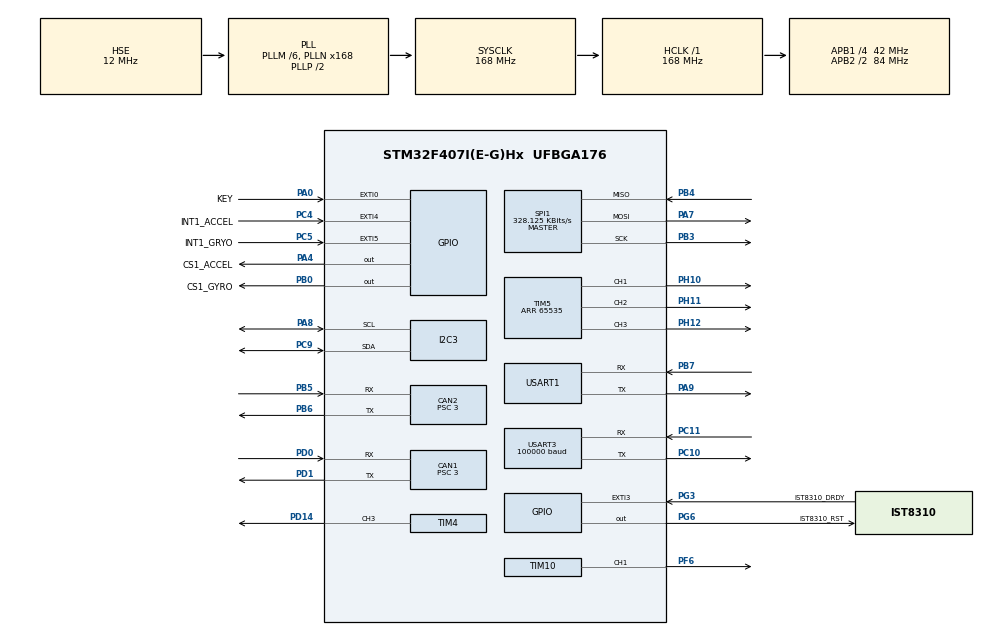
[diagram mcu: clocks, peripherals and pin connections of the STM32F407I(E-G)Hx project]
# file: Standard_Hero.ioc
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CAN1.BS1=CAN_BS1_10TQ
CAN1.BS2=CAN_BS2_3TQ
CAN1.CalculateBaudRate=1000000
CAN1.CalculateTimeBit=1000
CAN1.CalculateTimeQuantum=71.42857142857143
CAN1.Prescaler=3
CAN2.BS1=CAN_BS1_10TQ
CAN2.BS2=CAN_BS2_3TQ
CAN2.CalculateBaudRate=1000000
CAN2.CalculateTimeBit=1000
CAN2.CalculateTimeQuantum=71.42857142857143
CAN2.Prescaler=3
Dma.Request0=USART3_RX
Dma.Request1=SPI1_RX
Dma.Request2=SPI1_TX
Dma.Request3=USART1_RX
Dma.Request4=USART1_TX
Dma.SPI1_RX.1.Direction=DMA_PERIPH_TO_MEMORY
Dma.SPI1_RX.1.FIFOMode=DMA_FIFOMODE_DISABLE
Dma.SPI1_RX.1.Instance=DMA2_Stream2
Dma.SPI1_RX.1.MemDataAlignment=DMA_MDATAALIGN_BYTE
Dma.SPI1_RX.1.MemInc=DMA_MINC_ENABLE
Dma.SPI1_RX.1.Mode=DMA_NORMAL
Dma.SPI1_RX.1.PeriphDataAlignment=DMA_PDATAALIGN_BYTE
Dma.SPI1_RX.1.PeriphInc=DMA_PINC_DISABLE
Dma.SPI1_RX.1.Priority=DMA_PRIORITY_VERY_HIGH
Dma.SPI1_TX.2.Direction=DMA_MEMORY_TO_PERIPH
Dma.SPI1_TX.2.FIFOMode=DMA_FIFOMODE_DISABLE
Dma.SPI1_TX.2.Instance=DMA2_Stream3
Dma.SPI1_TX.2.MemDataAlignment=DMA_MDATAALIGN_BYTE
Dma.SPI1_TX.2.MemInc=DMA_MINC_ENABLE
Dma.SPI1_TX.2.Mode=DMA_NORMAL
Dma.SPI1_TX.2.PeriphDataAlignment=DMA_PDATAALIGN_BYTE
Dma.SPI1_TX.2.PeriphInc=DMA_PINC_DISABLE
Dma.SPI1_TX.2.Priority=DMA_PRIORITY_HIGH
Dma.USART1_RX.3.Direction=DMA_PERIPH_TO_MEMORY
Dma.USART1_RX.3.FIFOMode=DMA_FIFOMODE_DISABLE
Dma.USART1_RX.3.Instance=DMA2_Stream5
Dma.USART1_RX.3.MemDataAlignment=DMA_MDATAALIGN_BYTE
Dma.USART1_RX.3.MemInc=DMA_MINC_ENABLE
Dma.USART1_RX.3.Mode=DMA_NORMAL
Dma.USART1_RX.3.PeriphDataAlignment=DMA_PDATAALIGN_BYTE
Dma.USART1_RX.3.PeriphInc=DMA_PINC_DISABLE
Dma.USART1_RX.3.Priority=DMA_PRIORITY_VERY_HIGH
Dma.USART1_TX.4.Direction=DMA_MEMORY_TO_PERIPH
Dma.USART1_TX.4.FIFOMode=DMA_FIFOMODE_DISABLE
Dma.USART1_TX.4.Instance=DMA2_Stream7
Dma.USART1_TX.4.MemDataAlignment=DMA_MDATAALIGN_BYTE
Dma.USART1_TX.4.MemInc=DMA_MINC_ENABLE
Dma.USART1_TX.4.Mode=DMA_NORMAL
Dma.USART1_TX.4.PeriphDataAlignment=DMA_PDATAALIGN_BYTE
Dma.USART1_TX.4.PeriphInc=DMA_PINC_DISABLE
Dma.USART1_TX.4.Priority=DMA_PRIORITY_MEDIUM
Dma.USART3_RX.0.Direction=DMA_PERIPH_TO_MEMORY
Dma.USART3_RX.0.FIFOMode=DMA_FIFOMODE_DISABLE
Dma.USART3_RX.0.Instance=DMA1_Stream1
Dma.USART3_RX.0.MemDataAlignment=DMA_MDATAALIGN_BYTE
Dma.USART3_RX.0.MemInc=DMA_MINC_ENABLE
Dma.USART3_RX.0.Mode=DMA_NORMAL
Dma.USART3_RX.0.PeriphDataAlignment=DMA_PDATAALIGN_BYTE
Dma.USART3_RX.0.PeriphInc=DMA_PINC_DISABLE
Dma.USART3_RX.0.Priority=DMA_PRIORITY_VERY_HIGH
FREERTOS.INCLUDE_uxTaskGetStackHighWaterMark=1
FREERTOS.INCLUDE_xTaskGetHandle=1
FREERTOS.Tasks01=defaultTask,0,128,StartDefaultTask,Default,NULL,Dynamic,NULL,NULL
I2C3.I2C_Mode=I2C_Fast
Mcu.Family=STM32F4
Mcu.Name=STM32F407I(E-G)Hx
Mcu.Package=UFBGA176
NVIC.CAN1_RX0_IRQn=true\:5\:0\:false\:false\:true\:true\:true\:true\:true
NVIC.CAN2_RX0_IRQn=true\:5\:0\:false\:false\:true\:true\:true\:true\:true
NVIC.DMA1_Stream1_IRQn=true\:5\:0\:false\:false\:true\:true\:false\:true\:true
NVIC.DMA2_Stream2_IRQn=true\:5\:0\:false\:false\:true\:true\:false\:true\:true
NVIC.DMA2_Stream3_IRQn=true\:5\:0\:false\:false\:true\:true\:false\:true\:true
NVIC.DMA2_Stream5_IRQn=true\:5\:0\:false\:false\:true\:true\:false\:true\:true
NVIC.DMA2_Stream7_IRQn=true\:5\:0\:false\:false\:true\:true\:false\:true\:true
NVIC.EXTI0_IRQn=true\:5\:0\:false\:false\:true\:true\:true\:true\:true
NVIC.EXTI3_IRQn=true\:5\:0\:false\:false\:true\:true\:true\:true\:true
NVIC.EXTI4_IRQn=true\:5\:0\:false\:false\:true\:true\:true\:true\:true
NVIC.EXTI9_5_IRQn=true\:5\:0\:false\:false\:true\:true\:true\:true\:true
NVIC.PriorityGroup=NVIC_PRIORITYGROUP_4
NVIC.USART1_IRQn=true\:5\:0\:false\:false\:true\:true\:true\:true\:true
NVIC.USART3_IRQn=true\:5\:0\:false\:false\:true\:true\:true\:true\:true
PA0-WKUP.GPIO_Label=KEY
PA0-WKUP.GPIO_ModeDefaultEXTI=GPIO_MODE_IT_RISING_FALLING
PA0-WKUP.GPIO_PuPd=GPIO_PULLUP
PA0-WKUP.Signal=GPXTI0
PA13.Mode=Serial_Wire
PA13.Signal=SYS_JTMS-SWDIO
PA14.Mode=Serial_Wire
PA14.Signal=SYS_JTCK-SWCLK
PA4.GPIO_Label=CS1_ACCEL
PA4.GPIO_PuPd=GPIO_PULLUP
PA4.GPIO_Speed=GPIO_SPEED_FREQ_HIGH
PA4.PinState=GPIO_PIN_SET
PA4.Signal=GPIO_Output
PA7.Mode=Full_Duplex_Master
PA7.Signal=SPI1_MOSI
PA8.Mode=I2C
PA8.Signal=I2C3_SCL
PA9.Mode=Asynchronous
PA9.Signal=USART1_TX
PB0.GPIO_Label=CS1_GYRO
PB0.GPIO_PuPd=GPIO_PULLUP
PB0.GPIO_Speed=GPIO_SPEED_FREQ_HIGH
PB0.PinState=GPIO_PIN_SET
PB0.Signal=GPIO_Output
PB3.Mode=Full_Duplex_Master
PB3.Signal=SPI1_SCK
PB4.Mode=Full_Duplex_Master
PB4.Signal=SPI1_MISO
PB5.Mode=CAN_Activate
PB5.Signal=CAN2_RX
PB6.Mode=CAN_Activate
PB6.Signal=CAN2_TX
PB7.Mode=Asynchronous
PB7.Signal=USART1_RX
PC10.Mode=Asynchronous
PC10.Signal=USART3_TX
PC11.Mode=Asynchronous
PC11.Signal=USART3_RX
PC4.GPIO_Label=INT1_ACCEL
PC4.GPIO_ModeDefaultEXTI=GPIO_MODE_IT_FALLING
PC4.GPIO_PuPd=GPIO_PULLUP
PC4.Signal=GPXTI4
PC5.GPIO_Label=INT1_GRYO
PC5.GPIO_ModeDefaultEXTI=GPIO_MODE_IT_FALLING
PC5.GPIO_PuPd=GPIO_PULLUP
PC5.Signal=GPXTI5
PC9.Mode=I2C
PC9.Signal=I2C3_SDA
PD0.Mode=CAN_Activate
PD0.Signal=CAN1_RX
PD1.Mode=CAN_Activate
PD1.Signal=CAN1_TX
PD14.Signal=S_TIM4_CH3
PF6.GPIO_PuPd=GPIO_PULLUP
PF6.GPIO_Speed=GPIO_SPEED_FREQ_HIGH
PF6.Signal=S_TIM10_CH1
PG3.GPIO_Label=IST8310_DRDY
PG3.GPIO_ModeDefaultEXTI=GPIO_MODE_IT_FALLING
PG3.GPIO_PuPd=GPIO_PULLUP
PG3.Signal=GPXTI3
PG6.GPIO_Label=IST8310_RST
PG6.GPIO_PuPd=GPIO_PULLUP
PG6.GPIO_Speed=GPIO_SPEED_FREQ_MEDIUM
PG6.Signal=GPIO_Output
PH0-OSC_IN.Mode=HSE-External-Oscillator
PH0-OSC_IN.Signal=RCC_OSC_IN
PH1-OSC_OUT.Mode=HSE-External-Oscillator
PH1-OSC_OUT.Signal=RCC_OSC_OUT
PH10.Signal=S_TIM5_CH1
PH11.Signal=S_TIM5_CH2
PH12.Signal=S_TIM5_CH3
ProjectManager.HeapSize=0x200
ProjectManager.StackSize=0x400
ProjectManager.TargetToolchain=MDK-ARM V5
RCC.48MHZClocksFreq_Value=84000000
RCC.AHBFreq_Value=168000000
RCC.APB1CLKDivider=RCC_HCLK_DIV4
RCC.APB1Freq_Value=42000000
RCC.APB1TimFreq_Value=84000000
RCC.APB2CLKDivider=RCC_HCLK_DIV2
RCC.APB2Freq_Value=84000000
RCC.APB2TimFreq_Value=168000000
RCC.CortexFreq_Value=168000000
RCC.HCLKFreq_Value=168000000
RCC.HSE_VALUE=12000000
RCC.HSI_VALUE=16000000
RCC.LSE_VALUE=32768
RCC.PLLM=6
RCC.PLLN=168
RCC.PLLSourceVirtual=RCC_PLLSOURCE_HSE
RCC.SYSCLKFreq_VALUE=168000000
RCC.SYSCLKSource=RCC_SYSCLKSOURCE_PLLCLK
RCC.VCOOutputFreq_Value=336000000
SH.S_TIM10_CH1.0=TIM10_CH1,PWM Generation1 CH1
SH.S_TIM4_CH3.0=TIM4_CH3,PWM Generation3 CH3
SH.S_TIM5_CH1.0=TIM5_CH1,PWM Generation1 CH1
SH.S_TIM5_CH2.0=TIM5_CH2,PWM Generation2 CH2
SH.S_TIM5_CH3.0=TIM5_CH3,PWM Generation3 CH3
SPI1.BaudRatePrescaler=SPI_BAUDRATEPRESCALER_256
SPI1.CLKPhase=SPI_PHASE_2EDGE
SPI1.CLKPolarity=SPI_POLARITY_HIGH
SPI1.CalculateBaudRate=328.125 KBits/s
SPI1.Direction=SPI_DIRECTION_2LINES
SPI1.Mode=SPI_MODE_MASTER
SPI1.VirtualType=VM_MASTER
TIM10.Channel=TIM_CHANNEL_1
TIM10.Period=4999
TIM4.Channel-PWM\ Generation3\ CH3=TIM_CHANNEL_3
TIM4.Period=20999
TIM5.Channel-PWM\ Generation1\ CH1=TIM_CHANNEL_1
TIM5.Channel-PWM\ Generation2\ CH2=TIM_CHANNEL_2
TIM5.Channel-PWM\ Generation3\ CH3=TIM_CHANNEL_3
TIM5.Period=65535
USART1.VirtualMode=VM_ASYNC
USART3.BaudRate=100000
USART3.VirtualMode=VM_ASYNC
VP_FREERTOS_VS_CMSIS_V1.Mode=CMSIS_V1
VP_TIM10_VS_ClockSourceINT.Mode=Enable_Timer
VP_TIM4_VS_ClockSourceINT.Mode=Internal
board=custom

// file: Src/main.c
/* USER CODE BEGIN Header */
/**
  ******************************************************************************
  * @file           : main.c
  * @brief          : Main program body
  ******************************************************************************
  * @attention
  *
  * <h2><center>&copy; Copyright (c) 2019 STMicroelectronics.
  * All rights reserved.</center></h2>
  *
  * This software component is licensed by ST under BSD 3-Clause license,
  * the "License"; You may not use this file except in compliance with the
  * License. You may obtain a copy of the License at:
  *                        opensource.org/licenses/BSD-3-Clause
  *
  ******************************************************************************
  */
/* USER CODE END Header */
#include "main.h"
#include "cmsis_os.h"
#include "can.h"
#include "dma.h"
#include "i2c.h"
#include "spi.h"
#include "tim.h"
#include "usart.h"
#include "gpio.h"

/* USER CODE BEGIN Includes */

#include "bsp_can.h"
#include "remote_control.h"
#include "bsp_rc.h"
#include "calibrate_task.h"
#include "bsp_imu_pwm.h"
#include "message_usart.h"
/* USER CODE END Includes */

/* USER CODE BEGIN PTD */
extern UART_HandleTypeDef huart1;
/* USER CODE END PTD */

void SystemClock_Config(void);
void MX_FREERTOS_Init(void);

int main(void)
{

  /* MCU Configuration--------------------------------------------------------*/

  /* Reset of all peripherals, Initializes the Flash interface and the Systick. */
  HAL_Init();

  /* Configure the system clock */
  SystemClock_Config();

  /* Initialize all configured peripherals */
  MX_GPIO_Init();
  MX_DMA_Init();
  MX_CAN1_Init();
  MX_USART1_UART_Init();
  MX_USART3_UART_Init();
  MX_CAN2_Init();
  MX_I2C3_Init();
  MX_TIM5_Init();
  MX_SPI1_Init();
  MX_TIM10_Init();
  MX_TIM4_Init();
  /* USER CODE BEGIN 2 */
	//开启TIM5时钟
	HAL_TIM_Base_Start(&htim4);
	HAL_TIM_Base_Start(&htim5);
	//初始化rc遥控器
	remote_control_init();
	//使能can过滤器
	can_filter_init();
	//开启PWM
	HAL_TIM_PWM_Start(&htim4, TIM_CHANNEL_3);
	HAL_TIM_PWM_Start(&htim5, TIM_CHANNEL_1);
	HAL_TIM_PWM_Start(&htim5, TIM_CHANNEL_2);
	HAL_TIM_PWM_Start(&htim5, TIM_CHANNEL_3);
	/*开启串口空闲中断*/
//	__HAL_UART_ENABLE_IT(&huart1, UART_IT_IDLE);
//	__HAL_UART_ENABLE_IT(&huart1, UART_IT_RXNE); // 使能接收中断
//	__HAL_UART_ENABLE_IT(&huart1, UART_IT_IDLE); // 使能空闲中断
//	/*启动串口DMA接收*/
//	HAL_UART_Receive_DMA(&huart1,rx_buffer,BUFFER_SIZE);
	//开启校准模式
	cali_param_init();
  /* USER CODE END 2 */

  /* Call init function for freertos objects (in freertos.c) */
  MX_FREERTOS_Init();

  /* Start scheduler */
  osKernelStart();
  /* We should never get here as control is now taken by the scheduler */
  /* Infinite loop */
  while (1)
  {

  }
}

void SystemClock_Config(void)
{
  RCC_OscInitTypeDef RCC_OscInitStruct = {0};
  RCC_ClkInitTypeDef RCC_ClkInitStruct = {0};

  /** Configure the main internal regulator output voltage
  */
  __HAL_RCC_PWR_CLK_ENABLE();
  __HAL_PWR_VOLTAGESCALING_CONFIG(PWR_REGULATOR_VOLTAGE_SCALE1);

  /** Initializes the RCC Oscillators according to the specified parameters
  * in the RCC_OscInitTypeDef structure.
  */
  RCC_OscInitStruct.OscillatorType = RCC_OSCILLATORTYPE_HSE;
  RCC_OscInitStruct.HSEState = RCC_HSE_ON;
  RCC_OscInitStruct.PLL.PLLState = RCC_PLL_ON;
  RCC_OscInitStruct.PLL.PLLSource = RCC_PLLSOURCE_HSE;
  RCC_OscInitStruct.PLL.PLLM = 6;
  RCC_OscInitStruct.PLL.PLLN = 168;
  RCC_OscInitStruct.PLL.PLLP = RCC_PLLP_DIV2;
  RCC_OscInitStruct.PLL.PLLQ = 4;
  if (HAL_RCC_OscConfig(&RCC_OscInitStruct) != HAL_OK)
  {
    Error_Handler();
  }

  /** Initializes the CPU, AHB and APB buses clocks
  */
  RCC_ClkInitStruct.ClockType = RCC_CLOCKTYPE_HCLK|RCC_CLOCKTYPE_SYSCLK
                              |RCC_CLOCKTYPE_PCLK1|RCC_CLOCKTYPE_PCLK2;
  RCC_ClkInitStruct.SYSCLKSource = RCC_SYSCLKSOURCE_PLLCLK;
  RCC_ClkInitStruct.AHBCLKDivider = RCC_SYSCLK_DIV1;
  RCC_ClkInitStruct.APB1CLKDivider = RCC_HCLK_DIV4;
  RCC_ClkInitStruct.APB2CLKDivider = RCC_HCLK_DIV2;

  if (HAL_RCC_ClockConfig(&RCC_ClkInitStruct, FLASH_LATENCY_5) != HAL_OK)
  {
    Error_Handler();
  }
}

void Error_Handler(void)
{
}

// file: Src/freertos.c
/* USER CODE BEGIN Header */
/**
  ******************************************************************************
  * File Name          : freertos.c
  * Description        : Code for freertos applications
  ******************************************************************************
  * @attention
  *
  * <h2><center>&copy; Copyright (c) 2022 STMicroelectronics.
  * All rights reserved.</center></h2>
  *
  * This software component is licensed by ST under Ultimate Liberty license
  * SLA0044, the "License"; You may not use this file except in compliance with
  * the License. You may obtain a copy of the License at:
  *                             www.st.com/SLA0044
  *
  ******************************************************************************
  */
/* USER CODE END Header */

#include "FreeRTOS.h"
#include "task.h"
#include "main.h"
#include "cmsis_os.h"

/* USER CODE BEGIN Includes */
#include "gimbal_task.h"
#include "INS_task.h"
#include "calibrate_task.h"
#include "chassis_task.h"
#include "detect_task.h"
#include "message_usart.h"

/* USER CODE END Includes */

/* USER CODE BEGIN PTD */

osThreadId gimbalTaskHandle;
osThreadId imuTaskHandle;
osThreadId chassisTaskHandle;
osThreadId detect_handle;
osThreadId calibrate_tast_handle;
osThreadId message_handle;

/* USER CODE END PTD */

osThreadId defaultTaskHandle;

void StartDefaultTask(void const * argument);

void MX_FREERTOS_Init(void); /* (MISRA C 2004 rule 8.1) */

/* GetIdleTaskMemory prototype (linked to static allocation support) */
void vApplicationGetIdleTaskMemory( StaticTask_t **ppxIdleTaskTCBBuffer, StackType_t **ppxIdleTaskStackBuffer, uint32_t *pulIdleTaskStackSize );

/* USER CODE BEGIN GET_IDLE_TASK_MEMORY */
static StaticTask_t xIdleTaskTCBBuffer;
static StackType_t xIdleStack[configMINIMAL_STACK_SIZE];

void vApplicationGetIdleTaskMemory( StaticTask_t **ppxIdleTaskTCBBuffer, StackType_t **ppxIdleTaskStackBuffer, uint32_t *pulIdleTaskStackSize )
{
  *ppxIdleTaskTCBBuffer = &xIdleTaskTCBBuffer;
  *ppxIdleTaskStackBuffer = &xIdleStack[0];
  *pulIdleTaskStackSize = configMINIMAL_STACK_SIZE;
  /* place for user code */
}
/* USER CODE END GET_IDLE_TASK_MEMORY */

void MX_FREERTOS_Init(void) {

  /* Create the thread(s) */
  /* definition and creation of defaultTask */
  osThreadDef(defaultTask, StartDefaultTask, osPriorityNormal, 0, 128);
  defaultTaskHandle = osThreadCreate(osThread(defaultTask), NULL);

  /* USER CODE BEGIN RTOS_THREADS */
  /* add threads, ... */
	osThreadDef(gimbalTask, gimbal_task, osPriorityHigh, 0, 512);
  gimbalTaskHandle = osThreadCreate(osThread(gimbalTask), NULL);

  osThreadDef(cali, calibrate_task, osPriorityNormal, 0, 512);
  calibrate_tast_handle = osThreadCreate(osThread(cali), NULL);

  osThreadDef(imuTask, INS_task, osPriorityRealtime, 0, 1024);
  imuTaskHandle = osThreadCreate(osThread(imuTask), NULL);

	osThreadDef(ChassisTask, chassis_task, osPriorityAboveNormal, 0, 512);
  chassisTaskHandle = osThreadCreate(osThread(ChassisTask), NULL);

	osThreadDef(DETECT, detect_task, osPriorityNormal, 0, 256);
  detect_handle = osThreadCreate(osThread(DETECT), NULL);

	osThreadDef(MESSAGE, msg_send_task, osPriorityNormal, 0, 256);
  message_handle = osThreadCreate(osThread(MESSAGE), NULL);
  /* USER CODE END RTOS_THREADS */

}

void StartDefaultTask(void const * argument)
{
  for(;;)
  {
    osDelay(1);
  }
}
